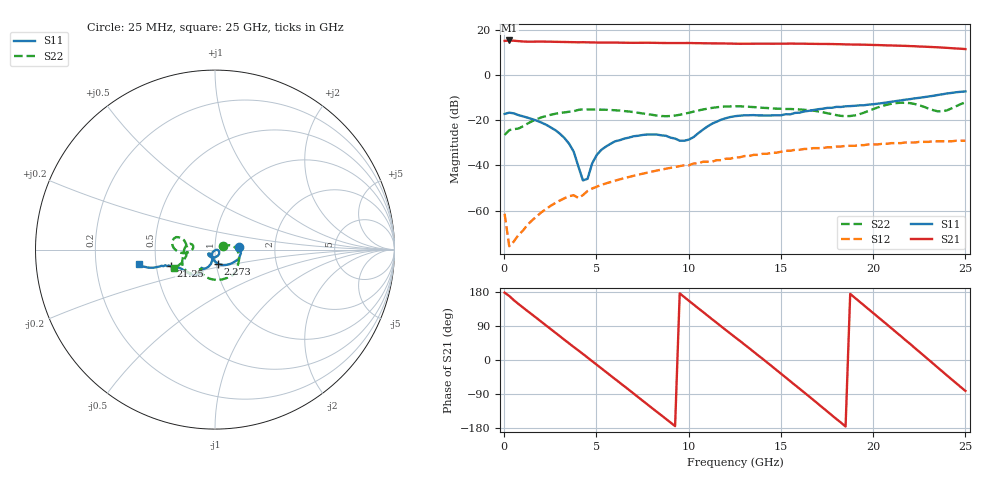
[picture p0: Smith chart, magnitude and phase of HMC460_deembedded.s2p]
!HMC460 De-embedded S-parameters
!Bias conditions: Vcc=8V, Idd=60mA, Reference plane to the ribbon bonds
# MHZ S MA R 50
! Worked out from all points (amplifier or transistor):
!   101 points, 25 MHz to 25 GHz, reference 50 ohm
!   highest |S21| = 15.2 dB at 274.8 MHz (marker M1)
!   |S21| within 3 dB of that: start of sweep to 23.44 GHz
!   unconditionally stable (mu >= 1): start of sweep to end of sweep
!   at 4.021 GHz: K = 48.80, MAG = 14.5 dB, |S12| = -54.4 dB
!   at 12.51 GHz: K = 6.47, MAG = 14.0 dB, |S12| = -36.5 dB
!   at 25 GHz: K = 3.09, MAG = 12.5 dB, |S12| = -29.1 dB
!   S11 on the Smith chart (normalised r, x): 25 MHz: 1.32, +0.03; 2.273 GHz: 1.02, -0.16; 21.25 GHz: 0.59, -0.12; 25 GHz: 0.40, -0.08
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25  0.137 5.0  5.641 177.8  0.0008476 -41.7  0.047 22.1
274.75  0.146 -8.5  5.767 169.0  0.000163 -139.7  0.06 13.5
2272.75  0.079 -79.0  5.426 91.1  0.001079 118.7  0.123 -1.2
4270.75  0.004639 -93.9  5.272 15.9  0.002198 48.4  0.173 -54.1
5269.75  0.022 -19.1  5.173 -22.0  0.003685 10.9  0.17 -81.8
6518.5  0.039 -72.1  5.136 -69.5  0.00522 -34.6  0.158 -110.3
7517.5  0.047 -115.3  5.126 -107.9  0.00654 -70.9  0.14 -126.0
8516.5  0.046 -143.5  5.075 -145.7  0.008025 -107.8  0.123 -130.1
10015  0.037 -121.9  5.064 156.2  0.01 -164.7  0.145 -125.0
11263.75  0.083 -105.8  4.972 107.9  0.012 147.6  0.186 -134.1
12512.5  0.122 -119.5  4.89 60.2  0.015 100.7  0.202 -149.3
13511.5  0.129 -125.8  4.883 22.2  0.017 63.3  0.194 -159.9
14510.5  0.127 -125.0  4.886 -16.6  0.019 25.3  0.181 -167.8
15759.25  0.144 -119.6  4.902 -65.9  0.022 -22.8  0.174 -177.1
16758.25  0.167 -122.9  4.851 -105.4  0.024 -61.6  0.162 172.3
17757.25  0.187 -131.8  4.804 -145.6  0.025 -100.5  0.136 167.1
18756.25  0.204 -143.1  4.694 174.6  0.027 -139.8  0.123 176.8
20005  0.224 -153.2  4.59 123.8  0.029 170.2  0.175 -173.4
21004  0.255 -158.7  4.465 83.3  0.031 130.3  0.23 177.8
21253.75  0.264 -159.5  4.432 73.0  0.031 120.2  0.238 174.4
23002  0.333 -163.2  4.164 0.9  0.033 49.8  0.179 163.4
25000  0.43 -169.3  3.719 -81.5  0.035 -29.3  0.247 -156.1
